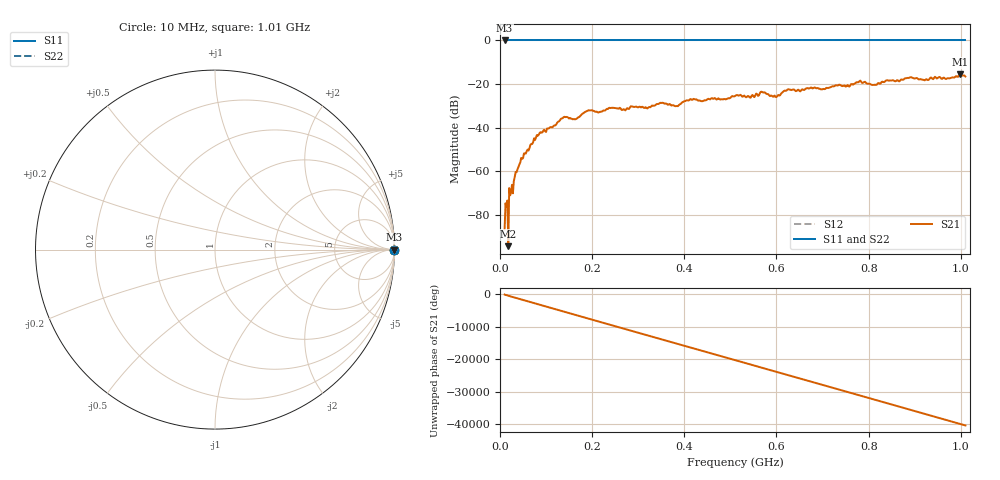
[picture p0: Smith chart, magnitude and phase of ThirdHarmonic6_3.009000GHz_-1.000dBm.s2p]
! 8/17/2025 8:37:40 AM
! C:\ANRITSUVNA\TEMP\TEMP.S2P
! CHANNEL.1
! TR.MEASUREMENT
! RAW.DATA
! RF.CORRECTION.OFF
! AVERAGING.OFF
! IF.BANDWIDTH: 5KHZ
! SWEEPTYPE:  FREQ.SWEEP(Linear)
! Reference Plane Port Info
! PORT:  PORT1  PORT2
! DISTANCE:  0  m  0  m
! TIME:  0  s  0  s
! PHASE.OFFSET:  0  deg.  0  deg.
! LOSS:  0  dB  0  dB
! REF.LOSS:  0  dB  0  dB
! REF.FREQ:  0  Hz  0  Hz
! Power Info
! POWER:  -20  dBm  -20  dBm
! EFF.POWER:  -20  dBm  -20  dBm
! SOURCE.ATTEN:  0  dB  0  dB
! TEST.ATTEN:  0  dB  0  dB
# GHZ S RI R 50.0
! FREQ.GHZ  S11RE  S11IM  S21RE  S21IM  S12RE  S12IM  S22RE  S22IM
!; PortSelection: Port_12
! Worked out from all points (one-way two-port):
!   501 points, 10 MHz to 1.01 GHz, reference 50 ohm
!   highest |S21| = -15.53 dB at 998 MHz (marker M1); lowest = -94.3 dB at 18 MHz (marker M2)
!   lowest |S11| = 0.0 dB at 10 MHz (marker M3)
!   |S11| at or under -10 dB: nowhere
!   |S22| runs from 0.0 to 0.0 dB; largest |S21 - S12| = 1.1
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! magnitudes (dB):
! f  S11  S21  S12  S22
! 10 MHz  0.0  -86.5  0.0  0.0
! 18 MHz  0.0  -94.3  0.0  0.0
! 42 MHz  0.0  -56.8  0.0  0.0
! 78 MHz  0.0  -44.6  0.0  0.0
! 136 MHz  0.0  -35.7  0.0  0.0
! 162 MHz  0.0  -36.1  0.0  0.0
! 178 MHz  0.0  -33.7  0.0  0.0
! 344 MHz  0.0  -29.1  0.0  0.0
! 382 MHz  0.0  -30.1  0.0  0.0
! 416 MHz  0.0  -27.2  0.0  0.0
! 510 MHz  0.0  -25.5  0.0  0.0
! 548 MHz  0.0  -25.0  0.0  0.0
! 570 MHz  0.0  -23.7  0.0  0.0
! 596 MHz  0.0  -25.2  0.0  0.0
! 626 MHz  0.0  -22.3  0.0  0.0
! 678 MHz  0.0  -22.0  0.0  0.0
! 754 MHz  0.0  -20.5  0.0  0.0
! 780 MHz  0.0  -18.7  0.0  0.0
! 814 MHz  0.0  -20.3  0.0  0.0
! 844 MHz  0.0  -18.4  0.0  0.0
! 998 MHz  0.0  -15.5  0.0  0.0
! 1.01 GHz  0.0  -16.5  0.0  0.0
